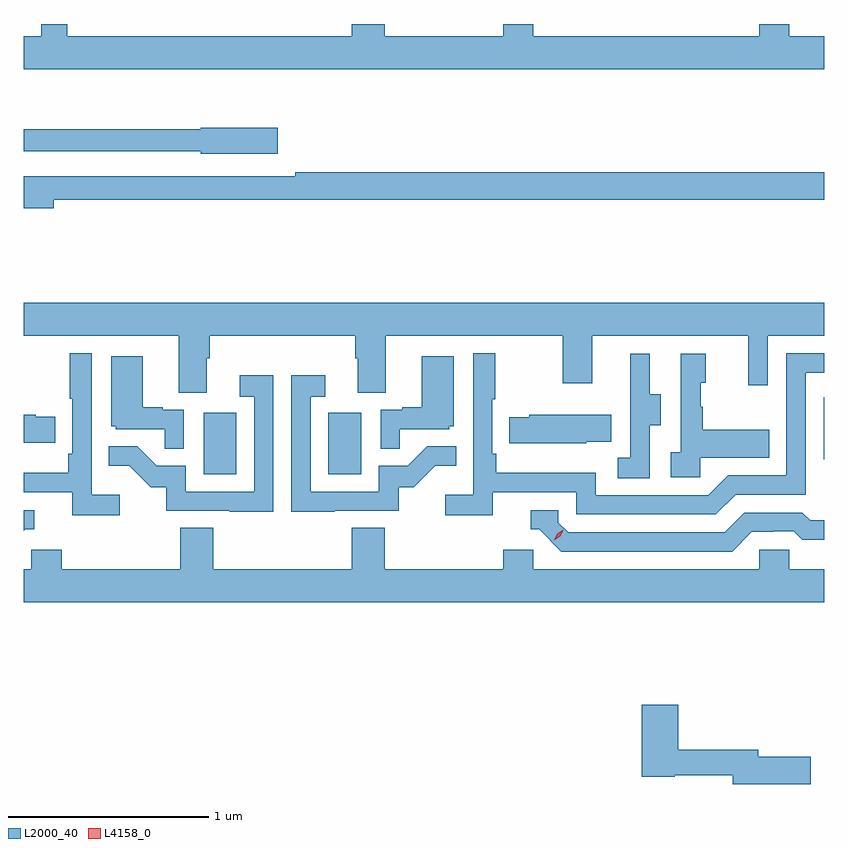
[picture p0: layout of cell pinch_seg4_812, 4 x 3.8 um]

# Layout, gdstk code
import gdstk
lib = gdstk.Library(unit=1e-6, precision=1e-09)
def R(c, l, rs):  # rectangles x0, y0, x1, y1
    for r in rs: c.add(gdstk.rectangle(r[:2], r[2:], *l))
def P(c, l, *ps):  # polygons
    for p in ps: c.add(gdstk.Polygon(p, *l))
L2000_40 = (2000, 40)
L4158_0 = (4158, 0)

pinch_seg4_812 = lib.new_cell('pinch_seg4_812')
R(pinch_seg4_812, L2000_40, [(820.484,802.788,820.648,803.095), (821.108,802.788,821.272,803.095), (823.584,802.863,823.586,803.172)])
P(pinch_seg4_812, L2000_40, [(823.586,804.976),(823.413,804.976),(823.413,805.038),(823.263,805.038),(823.263,804.976),(822.132,804.976),(822.132,805.038),(821.981,805.038),(821.981,804.976),(821.39,804.976),(821.39,805.038),(821.225,805.038),(821.225,804.976),(819.802,804.976),(819.802,805.038),(819.673,805.038),(819.673,804.976),(819.586,804.976),(819.586,804.812),(823.586,804.812)],
  [(820.855,804.519),(820.47,804.519),(820.47,804.511),(819.586,804.511),(819.586,804.402),(820.47,804.402),(820.47,804.389),(820.855,804.389)],
  [(819.736,804.16),(823.586,804.16),(823.586,804.296),(820.942,804.296),(820.942,804.276),(819.632,804.276),(819.632,804.277),(819.586,804.277),(819.586,804.118),(819.736,804.118)],
  [(820.501,803.368),(820.514,803.368),(820.514,803.48),(821.243,803.48),(821.243,803.368),(821.255,803.368),(821.255,803.194),(821.395,803.194),(821.395,803.48),(822.28,803.48),(822.28,803.241),(822.427,803.241),(822.427,803.48),(823.208,803.48),(823.208,803.232),(823.305,803.232),(823.305,803.48),(823.586,803.48),(823.586,803.644),(819.586,803.644),(819.586,803.48),(820.361,803.48),(820.361,803.194),(820.501,803.194)],
  [(820.066,802.684),(819.924,802.684),(819.924,803.392),(819.816,803.392),(819.816,803.164),(819.828,803.164),(819.828,802.891),(819.808,802.891),(819.808,802.795),(819.586,802.795),(819.586,802.698),(819.827,802.698),(819.827,802.582),(820.066,802.582)],
  [(821.93,802.698),(822.348,802.698),(822.348,802.587),(823.045,802.587),(823.144,802.686),(823.494,802.686),(823.494,803.295),(823.586,803.295),(823.586,803.391),(823.398,803.391),(823.398,802.782),(823.107,802.782),(823.008,802.683),(822.444,802.683),(822.444,802.795),(821.948,802.795),(821.948,802.891),(821.928,802.891),(821.928,803.161),(821.941,803.161),(821.941,803.392),(821.832,803.392),(821.832,802.684),(821.691,802.684),(821.691,802.582),(821.93,802.582)],
  [(822.966,802.871),(823.313,802.871),(823.313,803.011),(822.979,803.011),(822.979,803.126),(822.969,803.126),(822.969,803.244),(822.994,803.244),(822.994,803.389),(822.87,803.389),(822.87,802.898),(822.819,802.898),(822.819,802.773),(822.966,802.773)],
  [(822.714,803.032),(822.769,803.032),(822.769,803.187),(822.715,803.187),(822.715,803.389),(822.617,803.389),(822.617,803.175),(822.618,803.175),(822.618,802.871),(822.555,802.871),(822.555,802.768),(822.714,802.768)],
  [(820.386,803.109),(820.28,803.109),(820.28,803.122),(820.18,803.122),(820.18,803.377),(820.022,803.377),(820.022,803.028),(820.044,803.028),(820.044,803.013),(820.291,803.013),(820.291,802.915),(820.386,802.915)],
  [(821.465,803.013),(821.712,803.013),(821.712,803.028),(821.734,803.028),(821.734,803.377),(821.576,803.377),(821.576,803.122),(821.477,803.122),(821.477,803.109),(821.37,803.109),(821.37,802.915),(821.465,802.915)],
  [(821.141,802.605),(821.46,802.605),(821.46,802.722),(821.536,802.722),(821.643,802.829),(821.747,802.829),(821.747,802.928),(821.603,802.928),(821.505,802.83),(821.361,802.83),(821.361,802.701),(821.019,802.701),(821.019,803.175),(821.092,803.175),(821.092,803.281),(820.923,803.281),(820.923,802.6),(821.141,802.6)],
  [(820.833,803.281),(820.665,803.281),(820.665,803.175),(820.737,803.175),(820.737,802.701),(820.395,802.701),(820.395,802.83),(820.251,802.83),(820.153,802.928),(820.009,802.928),(820.009,802.829),(820.113,802.829),(820.22,802.722),(820.297,802.722),(820.297,802.605),(820.615,802.605),(820.615,802.6),(820.833,802.6)],
  [(822.396,802.949),(822.521,802.949),(822.521,803.086),(822.111,803.086),(822.111,803.073),(822.013,803.073),(822.013,802.943),(822.396,802.943)],
  [(819.743,803.076),(819.645,803.076),(819.645,803.086),(819.586,803.086),(819.586,802.946),(819.743,802.946)],
  [(819.594,802.512),(819.637,802.512),(819.637,802.608),(819.586,802.608),(819.586,802.504)],
  [(823.225,802.5),(823.332,802.5),(823.332,802.503),(823.435,802.503),(823.477,802.461),(823.586,802.461),(823.586,802.557),(823.516,802.557),(823.477,802.596),(823.188,802.596),(823.089,802.497),(822.306,802.497),(822.258,802.545),(822.258,802.608),(822.119,802.608),(822.119,802.512),(822.162,802.512),(822.273,802.401),(823.126,802.401)],
  [(823.586,802.312),(823.413,802.312),(823.413,802.41),(823.263,802.41),(823.263,802.312),(822.132,802.312),(822.132,802.41),(821.981,802.41),(821.981,802.312),(821.39,802.312),(821.39,802.52),(821.225,802.52),(821.225,802.312),(820.532,802.312),(820.532,802.52),(820.367,802.52),(820.367,802.312),(819.776,802.312),(819.776,802.41),(819.624,802.41),(819.624,802.312),(819.586,802.312),(819.586,802.148),(823.586,802.148)],
  [(823.519,801.374),(823.258,801.374),(823.258,801.41),(822.857,801.41),(822.857,801.634),(822.674,801.634),(822.674,801.274),(822.84,801.274),(822.84,801.282),(823.13,801.282),(823.13,801.239),(823.519,801.239)])
P(pinch_seg4_812, L4158_0, [(822.236,802.458),(822.236,802.458),(822.252,802.491),(822.282,802.51),(822.283,802.51),(822.283,802.51),(822.267,802.477),(822.236,802.458)])

lib.write_gds('pinch_seg4_812.gds')
